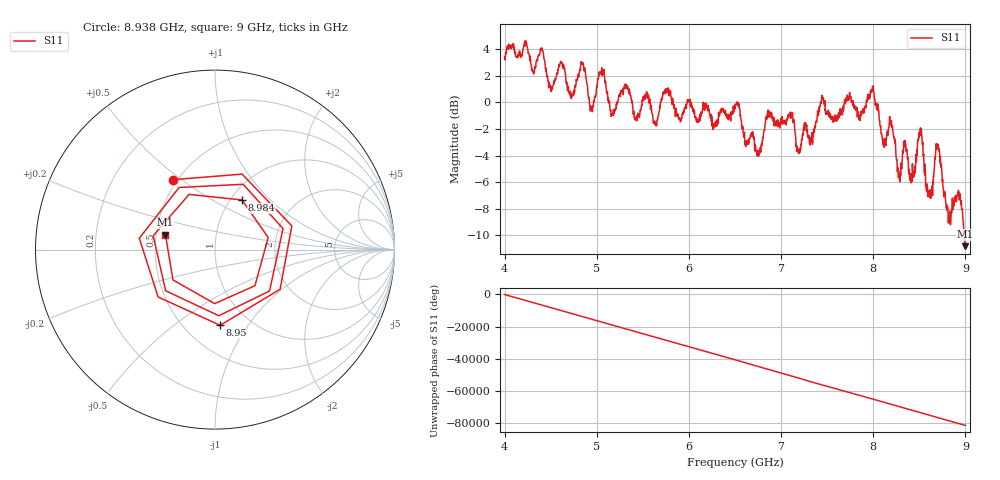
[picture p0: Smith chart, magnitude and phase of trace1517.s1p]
! Created with skrf 1.8.0 (http://scikit-rf.org).
# Hz S RI R 50.0
!freq ReS11 ImS11
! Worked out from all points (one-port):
!   1601 points, 4 GHz to 9 GHz, reference 50 ohm
!   lowest |S11| = -10.8 dB at 9 GHz (marker M1), VSWR 1.81, Z = 28 + j5.06 ohm
!   |S11| at or under -10 dB: 8.983811 GHz to end of sweep
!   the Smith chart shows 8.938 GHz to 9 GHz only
!   S11 on the Smith chart (normalised r, x): 8.938 GHz: 0.47, +0.46; 8.95 GHz: 0.73, -0.75; 8.984 GHz: 1.13, +0.69; 9 GHz: 0.56, +0.10
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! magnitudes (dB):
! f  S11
! 4 GHz  3.4
! 4.503 GHz  0.8
! 4.625 GHz  2.9
! 4.725 GHz  0.3
! 4.85 GHz  2.9
! 4.944 GHz  -0.5
! 5.053 GHz  2.2
! 5.166 GHz  -1.0
! 5.25 GHz  0.5
! 5.875 GHz  -0.9
! 6.5 GHz  -0.5
! 6.753 GHz  -4.0
! 6.859 GHz  -0.6
! 7.125 GHz  -0.8
! 7.194 GHz  -3.5
! 7.444 GHz  0.5
! 7.75 GHz  0.4
! 7.994 GHz  1.1
! 8.275 GHz  -5.6
! 8.375 GHz  -4.1
! 8.512 GHz  -1.9
! 8.6 GHz  -6.7
! 8.697 GHz  -3.3
! 8.819 GHz  -8.5
! 8.938 GHz  -6.8
! 8.95 GHz  -7.5
! 8.984 GHz  -10.0
! 9 GHz  -10.8
